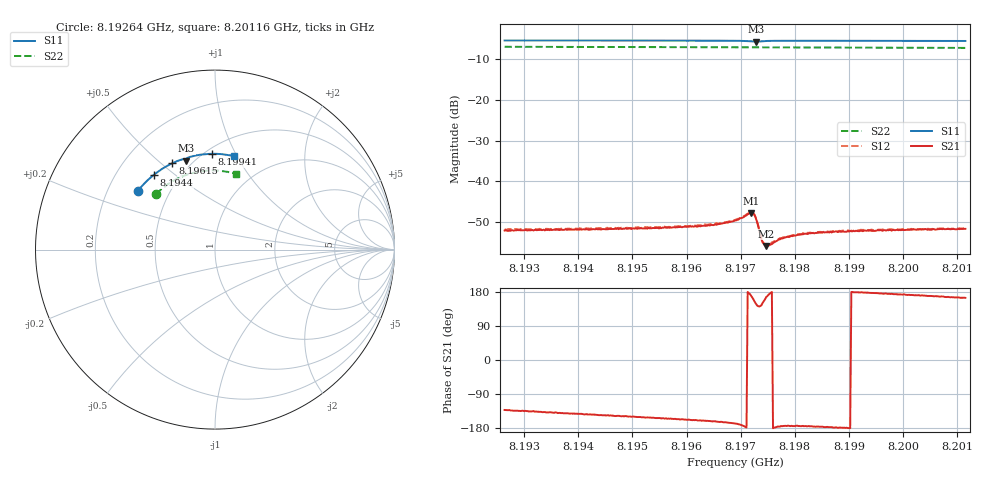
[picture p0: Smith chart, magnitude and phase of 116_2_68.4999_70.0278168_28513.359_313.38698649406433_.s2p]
#  HZ  S  RI  R  50.00
! Rohde & Schwarz Vector Network Analyzer
! Rohde-Schwarz,ZNB20-2Port,1311601062101988,3.16
! Created: UTC 3/20/2024, 4:53:46 PM
! freq[Hz]  re:S11  im:S11  re:S21  im:S21  re:S12  im:S12  re:S22  im:S22
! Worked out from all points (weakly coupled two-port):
!   401 points, 8.19264 GHz to 8.20116 GHz, reference 50 ohm
!   highest |S21| = -47.73 dB at 8.19719 GHz (marker M1); lowest = -55.9 dB at 8.19747 GHz (marker M2)
!   lowest |S11| = -5.7 dB at 8.19728 GHz (marker M3), VSWR 3.17, Z = 22.9 + j31.1 ohm
!   |S11| at or under -10 dB: nowhere
!   |S22| runs from -7.2 to -6.9 dB; largest |S21 - S12| = 0.0002
!   S11 on the Smith chart (normalised r, x): 8.19264 GHz: 0.33, +0.30; 8.1944 GHz: 0.36, +0.42; 8.19615 GHz: 0.40, +0.55; 8.19941 GHz: 0.54, +0.81; 8.20116 GHz: 0.67, +0.97
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8.192635e9  -0.4289 0.3275  -0.00166 -0.00186  -0.00179 -0.00185  -0.3273 0.3105
8.194063e9  -0.3601 0.4007  -0.00201 -0.00156  -0.00215 -0.00149  -0.2665 0.3616
8.194403e9  -0.3417 0.4161  -0.00211 -0.00146  -0.00224 -0.00145  -0.2507 0.3721
8.19549e9  -0.2785 0.4599  -0.00236 -0.0012  -0.0025 -0.00115  -0.1975 0.4011
8.19615e9  -0.237 0.4818  -0.0026 -0.00101  -0.00269 -0.000973  -0.1633 0.415
8.19664e9  -0.204 0.4957  -0.00289 -0.00089  -0.003 -0.000761  -0.1372 0.4236
8.196896e9  -0.1855 0.5017  -0.00324 -0.000704  -0.00331 -0.00057  -0.1233 0.4274
8.197194e9  -0.1605 0.5005  -0.00404 0.000737  -0.00408 0.000907  -0.1068 0.4312
8.197237e9  -0.1591 0.4975  -0.00376 0.00136  -0.00381 0.00155  -0.1046 0.4314
8.197279e9  -0.1604 0.4955  -0.00306 0.00181  -0.00303 0.00197  -0.1024 0.4319
8.197365e9  -0.163 0.5001  -0.00174 0.00134  -0.00175 0.00144  -0.0979 0.433
8.197407e9  -0.1615 0.5036  -0.00155 0.00087  -0.00154 0.000974  -0.0955 0.4334
8.19745e9  -0.1589 0.5067  -0.00154 0.000561  -0.00152 0.000666  -0.0932 0.4339
8.197471e9  -0.1573 0.5078  -0.00156 0.000395  -0.00156 0.000489  -0.092 0.4342
8.197535e9  -0.1526 0.5111  -0.00165 0.000149  -0.00169 0.000227  -0.0884 0.435
8.197684e9  -0.141 0.5158  -0.00188 -0.000149  -0.00194 -6.62e-05  -0.0803 0.4363
8.197812e9  -0.1316 0.5185  -0.00204 -0.000215  -0.00205 -0.000131  -0.073 0.4372
8.198046e9  -0.1145 0.5228  -0.00218 -0.000256  -0.00222 -0.000135  -0.0598 0.4387
8.198323e9  -0.0947 0.5266  -0.00232 -0.000195  -0.00231 -9.65e-05  -0.0442 0.4403
8.19941e9  -0.0176 0.5337  -0.00249 0.000126  -0.00254 0.000235  0.0173 0.4401
8.199751e9  0.00675 0.5335  -0.00252 0.000223  -0.00255 0.000377  0.0364 0.4382
8.201157e9  0.1052 0.5215  -0.00251 0.000717  -0.0025 0.000884  0.1146 0.4219
